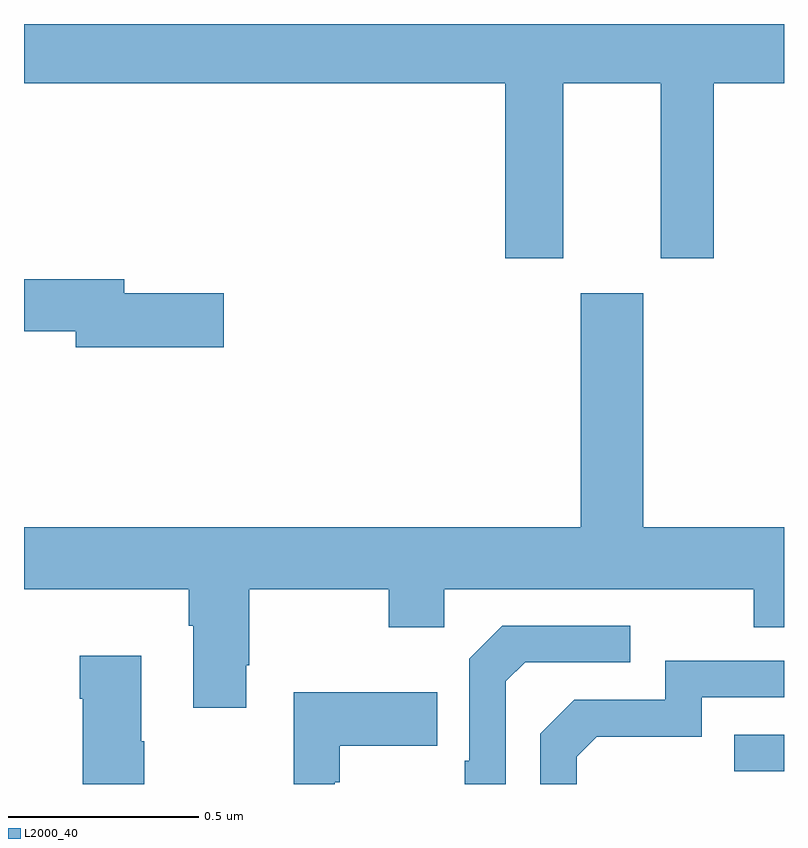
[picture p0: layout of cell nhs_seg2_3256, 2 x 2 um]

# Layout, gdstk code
import gdstk
lib = gdstk.Library(unit=1e-6, precision=1e-09)
def R(c, l, rs):  # rectangles x0, y0, x1, y1
    for r in rs: c.add(gdstk.rectangle(r[:2], r[2:], *l))
def P(c, l, *ps):  # polygons
    for p in ps: c.add(gdstk.Polygon(p, *l))
L2000_40 = (2000, 40)

nhs_seg2_3256 = lib.new_cell('nhs_seg2_3256')
R(nhs_seg2_3256, L2000_40, [(152.869,637.833,153,637.929)])
P(nhs_seg2_3256, L2000_40, [(152.419,639.644),(152.675,639.644),(152.675,639.183),(152.815,639.183),(152.815,639.644),(153,639.644),(153,639.8),(151,639.8),(151,639.644),(152.267,639.644),(152.267,639.183),(152.419,639.183)],
  [(151.525,639.092),(151.264,639.092),(151.264,639.128),(151,639.128),(151,638.992),(151.136,638.992),(151.136,638.95),(151.525,638.95)],
  [(151.585,638.113),(151.593,638.113),(151.593,638.312),(151.96,638.312),(151.96,638.213),(152.106,638.213),(152.106,638.312),(152.92,638.312),(152.92,638.213),(153,638.213),(153,638.476),(152.629,638.476),(152.629,639.091),(152.465,639.091),(152.465,638.476),(151,638.476),(151,638.312),(151.433,638.312),(151.433,638.216),(151.445,638.216),(151.445,638.001),(151.585,638.001)],
  [(152.268,638.07),(152.319,638.121),(152.596,638.121),(152.596,638.217),(152.259,638.217),(152.172,638.13),(152.172,637.861),(152.16,637.861),(152.16,637.8),(152.268,637.8)],
  [(151.317,637.913),(151.309,637.913),(151.309,638.137),(151.147,638.137),(151.147,638.024),(151.154,638.024),(151.154,637.8),(151.317,637.8)],
  [(152.454,637.872),(152.507,637.925),(152.784,637.925),(152.784,638.028),(153,638.028),(153,638.124),(152.688,638.124),(152.688,638.022),(152.448,638.022),(152.358,637.932),(152.358,637.8),(152.454,637.8)],
  [(151.818,637.805),(151.831,637.805),(151.831,637.901),(152.087,637.901),(152.087,638.041),(151.71,638.041),(151.71,637.8),(151.818,637.8)])

lib.write_gds('nhs_seg2_3256.gds')
